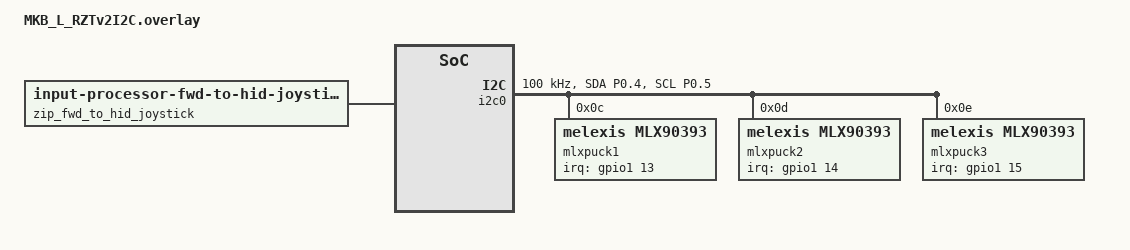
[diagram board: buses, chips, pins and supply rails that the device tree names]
#include <dt-bindings/zmk/keys.h>
#include <dt-bindings/zmk/pointing.h>

/ {
    xy_transf: xy_transf {
            compatible = "zmk,input-processor-transform";
            #input-processor-cells = <1>;
            type = <INPUT_EV_REL>;
            x-codes = <INPUT_REL_X>, <INPUT_REL_WHEEL>;
            y-codes = <INPUT_REL_Y>, <INPUT_REL_HWHEEL>;
    };
    xy_scaler: xy_scaler {
            compatible = "zmk,input-processor-scaler";
            #input-processor-cells = <2>;
            type = <INPUT_EV_REL>;
            codes = <INPUT_REL_X>, <INPUT_REL_Y>;
            track-remainders;
    };
    z_scaler: z_scaler {
            compatible = "zmk,input-processor-scaler";
            #input-processor-cells = <2>;
            type = <INPUT_EV_REL>;
            codes = <INPUT_REL_Z>;
            track-remainders;
    };

    mlxpuck1_il {
            compatible = "zmk,input-listener";
            device = <&mlxpuck1>;
            input-processors = <&xy_transf (INPUT_TRANSFORM_Y_INVERT)>
                            ,  <&xy_scaler 1 30>, <&z_scaler 1 30>
                            ,  <&zip_trixer 0>;
    };
    mlxpuck2_il {
            compatible = "zmk,input-listener";
            device = <&mlxpuck2>;
            input-processors = <&xy_transf (INPUT_TRANSFORM_Y_INVERT)>
                            ,  <&xy_scaler 1 30>, <&z_scaler 1 30>
                            ,  <&zip_trixer 1>;
    };
    mlxpuck3_il {
            compatible = "zmk,input-listener";
            device = <&mlxpuck3>;
            input-processors = <&xy_transf (INPUT_TRANSFORM_Y_INVERT)>
                            ,  <&xy_scaler 1 30>, <&z_scaler 1 30>
                            ,  <&zip_trixer 2>;
    };
    trixer_il {
    compatible = "zmk,input-listener";
    device = <&zip_trixer>;
            input-processors = <&zip_fwd_to_hid_joystick>;
            // input-processors = <&xy_scaler 3 7>, <&z_scaler 3 7>;
	};

    zip_fwd_to_hid_joystick: zip_forward_fwd_to_hid_joystick {
            compatible = "zmk,input-processor-fwd-to-hid-joystick";
            #input-processor-cells = <0>;
    };
    jskp: hid_joystick_key_press {
            compatible = "zmk,behavior-hid-joystick-key-press";
            #binding-cells = <1>;
    };
	jskp_il {
		compatible = "zmk,input-listener";
		device = <&jskp>;
                input-processors = <&zip_fwd_to_hid_joystick>;
	};
};

&i2c0 {
    compatible = "nordic,nrf-twi";
    status = "okay";
    pinctrl-0 = <&i2c0_default>;
    pinctrl-1 = <&i2c0_sleep>;
    pinctrl-names = "default", "sleep";
    clock-frequency = <100000>; 

    mlxpuck1: mlx90393@0c {
        compatible = "melexis,mlx90393";
        status = "okay";
        reg = <0x0c>;
        irq-gpios = <&gpio1 13 (GPIO_ACTIVE_HIGH | GPIO_PULL_DOWN)>;
        woc-thd-trim-pctg = <65>;
        smooth-len = <5>;
        downshift = <50>;
        rpt-dzn-x = <150>;
        rpt-dzn-y = <150>;
        rpt-dzn-z = <150>;
    };
    mlxpuck2: mlx90393@0d {
        compatible = "melexis,mlx90393";
        status = "okay";
        reg = <0x0d>;
        irq-gpios = <&gpio1 14 (GPIO_ACTIVE_HIGH | GPIO_PULL_DOWN)>;
        woc-thd-trim-pctg = <65>;
        smooth-len = <5>;
        downshift = <50>;
        rpt-dzn-x = <150>;
        rpt-dzn-y = <150>;
        rpt-dzn-z = <150>;
    };
    mlxpuck3: mlx90393@0e {
        compatible = "melexis,mlx90393";
        status = "okay";
        reg = <0x0e>;
        irq-gpios = <&gpio1 15 (GPIO_ACTIVE_HIGH | GPIO_PULL_DOWN)>;
        woc-thd-trim-pctg = <65>;
        smooth-len = <5>;
        downshift = <50>;
        rpt-dzn-x = <150>;
        rpt-dzn-y = <150>;
        rpt-dzn-z = <150>;
    };
};

&pinctrl {    
    i2c0_default: i2c0_default {
        group1 {
            psels = <NRF_PSEL(TWIM_SDA, 0,  4)>,
                    <NRF_PSEL(TWIM_SCL, 0,  5)>;
            // bias-pull-up;
        };
    };
      
    i2c0_sleep: i2c0_sleep {
        group1 {
            psels = <NRF_PSEL(TWIM_SDA, 0,  4)>,
                    <NRF_PSEL(TWIM_SCL, 0,  5)>;
            low-power-enable;
            // bias-pull-up;
        };
    };
};
